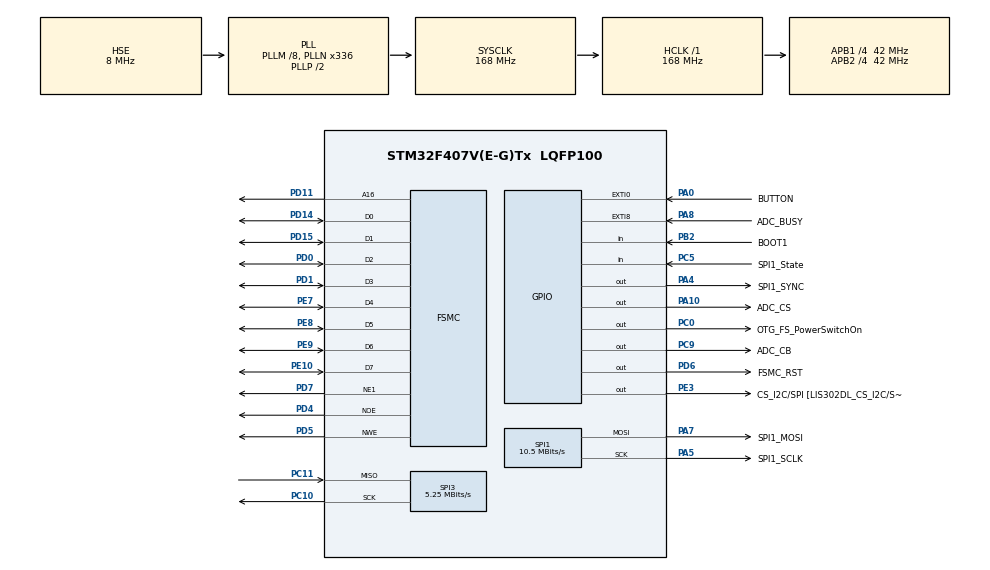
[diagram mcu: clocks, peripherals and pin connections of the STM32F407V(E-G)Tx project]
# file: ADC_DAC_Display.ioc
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Mcu.Family=STM32F4
Mcu.Name=STM32F407V(E-G)Tx
Mcu.Package=LQFP100
NVIC.EXTI0_IRQn=true\:0\:0\:false\:false\:true\:true\:true\:true
NVIC.EXTI9_5_IRQn=true\:0\:0\:false\:false\:true\:true\:true\:true
NVIC.PriorityGroup=NVIC_PRIORITYGROUP_0
PA0-WKUP.GPIO_Label=BUTTON
PA0-WKUP.GPIO_ModeDefaultEXTI=GPIO_MODE_IT_FALLING
PA0-WKUP.GPIO_PuPd=GPIO_NOPULL
PA0-WKUP.Signal=GPXTI0
PA10.GPIO_Label=ADC_CS
PA10.GPIO_Speed=GPIO_SPEED_FREQ_MEDIUM
PA10.Signal=GPIO_Output
PA13.GPIO_Label=SWDIO
PA13.Mode=Serial_Wire
PA13.Signal=SYS_JTMS-SWDIO
PA14.GPIO_Label=SWCLK
PA14.Mode=Serial_Wire
PA14.Signal=SYS_JTCK-SWCLK
PA4.GPIO_Label=SPI1_SYNC
PA4.GPIO_Speed=GPIO_SPEED_FREQ_MEDIUM
PA4.Signal=GPIO_Output
PA5.GPIO_Label=SPI1_SCLK
PA5.GPIO_Mode=GPIO_MODE_AF_PP
PA5.GPIO_PuPd=GPIO_NOPULL
PA5.GPIO_Speed=GPIO_SPEED_FREQ_LOW
PA5.Mode=TX_Only_Simplex_Unidirect_Master
PA5.Signal=SPI1_SCK
PA7.GPIO_Label=SPI1_MOSI
PA7.GPIO_Mode=GPIO_MODE_AF_PP
PA7.GPIO_PuPd=GPIO_NOPULL
PA7.GPIO_Speed=GPIO_SPEED_FREQ_LOW
PA7.Mode=TX_Only_Simplex_Unidirect_Master
PA7.Signal=SPI1_MOSI
PA8.GPIO_Label=ADC_BUSY
PA8.GPIO_ModeDefaultEXTI=GPIO_MODE_IT_FALLING
PA8.GPIO_PuPd=GPIO_PULLUP
PA8.Signal=GPXTI8
PB10.GPIO_Label=CLK_IN [MP45DT02_CLK]
PB10.GPIO_Mode=GPIO_MODE_AF_PP
PB10.GPIO_PuPd=GPIO_NOPULL
PB10.GPIO_Speed=GPIO_SPEED_FREQ_LOW
PB10.Signal=I2S2_CK
PB2.GPIO_Label=BOOT1
PB2.GPIO_Mode=GPIO_MODE_INPUT
PB2.GPIO_PuPd=GPIO_NOPULL
PB2.Signal=GPIO_Input
PB3.GPIO_Label=SWO
PB3.Signal=SYS_JTDO-SWO
PC0.GPIO_Label=OTG_FS_PowerSwitchOn
PC0.GPIO_PuPd=GPIO_NOPULL
PC0.GPIO_Speed=GPIO_SPEED_FREQ_LOW
PC0.PinState=GPIO_PIN_SET
PC0.Signal=GPIO_Output
PC10.Mode=RX_Only_Simplex_Unidirect_Master
PC10.Signal=SPI3_SCK
PC11.Mode=RX_Only_Simplex_Unidirect_Master
PC11.Signal=SPI3_MISO
PC14-OSC32_IN.GPIO_Label=PC14-OSC32_IN
PC14-OSC32_IN.Mode=LSE-External-Oscillator
PC14-OSC32_IN.Signal=RCC_OSC32_IN
PC15-OSC32_OUT.GPIO_Label=PC15-OSC32_OUT
PC15-OSC32_OUT.Mode=LSE-External-Oscillator
PC15-OSC32_OUT.Signal=RCC_OSC32_OUT
PC3.GPIO_Label=PDM_OUT [MP45DT02_DOUT]
PC3.GPIO_Mode=GPIO_MODE_AF_PP
PC3.GPIO_PuPd=GPIO_NOPULL
PC3.GPIO_Speed=GPIO_SPEED_FREQ_LOW
PC3.Signal=I2S2_SD
PC5.GPIO_Label=SPI1_State
PC5.Signal=GPIO_Input
PC9.GPIO_Label=ADC_CB
PC9.Signal=GPIO_Output
PD0.Mode=8b-d1
PD0.Signal=FSMC_D2
PD1.Mode=8b-d1
PD1.Signal=FSMC_D3
PD11.Mode=A16_1
PD11.Signal=FSMC_A16
PD14.Mode=8b-d1
PD14.Signal=FSMC_D0
PD15.Mode=8b-d1
PD15.Signal=FSMC_D1
PD4.Mode=Lcd1
PD4.Signal=FSMC_NOE
PD5.Mode=Lcd1
PD5.Signal=FSMC_NWE
PD6.GPIO_Label=FSMC_RST
PD6.Signal=GPIO_Output
PD7.Mode=NorPsramChipSelect1_1
PD7.Signal=FSMC_NE1
PE10.Mode=8b-d1
PE10.Signal=FSMC_D7
PE3.GPIO_Label=CS_I2C/SPI [LIS302DL_CS_I2C/SPI]
PE3.GPIO_PuPd=GPIO_NOPULL
PE3.GPIO_Speed=GPIO_SPEED_FREQ_LOW
PE3.Signal=GPIO_Output
PE7.Mode=8b-d1
PE7.Signal=FSMC_D4
PE8.Mode=8b-d1
PE8.Signal=FSMC_D5
PE9.Mode=8b-d1
PE9.Signal=FSMC_D6
PH0-OSC_IN.GPIO_Label=PH0-OSC_IN
PH0-OSC_IN.Mode=HSE-External-Oscillator
PH0-OSC_IN.Signal=RCC_OSC_IN
PH1-OSC_OUT.GPIO_Label=PH1-OSC_OUT
PH1-OSC_OUT.Mode=HSE-External-Oscillator
PH1-OSC_OUT.Signal=RCC_OSC_OUT
ProjectManager.HeapSize=0x200
ProjectManager.StackSize=0x400
ProjectManager.TargetToolchain=STM32CubeIDE
RCC.48MHZClocksFreq_Value=48000000
RCC.AHBFreq_Value=168000000
RCC.APB1CLKDivider=RCC_HCLK_DIV4
RCC.APB1Freq_Value=42000000
RCC.APB1TimFreq_Value=84000000
RCC.APB2CLKDivider=RCC_HCLK_DIV4
RCC.APB2Freq_Value=42000000
RCC.APB2TimFreq_Value=84000000
RCC.CortexFreq_Value=168000000
RCC.HCLKFreq_Value=168000000
RCC.HSE_VALUE=8000000
RCC.HSI_VALUE=16000000
RCC.PLLM=8
RCC.PLLN=336
RCC.PLLQ=7
RCC.PLLSourceVirtual=RCC_PLLSOURCE_HSE
RCC.SYSCLKFreq_VALUE=168000000
RCC.SYSCLKSource=RCC_SYSCLKSOURCE_PLLCLK
RCC.VCOOutputFreq_Value=336000000
SPI1.BaudRatePrescaler=SPI_BAUDRATEPRESCALER_4
SPI1.CLKPhase=SPI_PHASE_2EDGE
SPI1.CalculateBaudRate=10.5 MBits/s
SPI1.DataSize=SPI_DATASIZE_8BIT
SPI1.Direction=SPI_DIRECTION_2LINES
SPI1.Mode=SPI_MODE_MASTER
SPI1.VirtualType=VM_MASTER
SPI3.BaudRatePrescaler=SPI_BAUDRATEPRESCALER_8
SPI3.CalculateBaudRate=5.25 MBits/s
SPI3.DataSize=SPI_DATASIZE_16BIT
SPI3.Direction=SPI_DIRECTION_2LINES_RXONLY
SPI3.Mode=SPI_MODE_MASTER
SPI3.VirtualType=VM_MASTER
STMicroelectronics.X-CUBE-TOUCHGFX.4.26.1.ApplicationCcGraphicsJjApplication=TouchGFXOoGenerator
STMicroelectronics.X-CUBE-TOUCHGFX.4.26.1.tgfx_block_size=4096
STMicroelectronics.X-CUBE-TOUCHGFX.4.26.1.tgfx_buffering_strategy=Partial
STMicroelectronics.X-CUBE-TOUCHGFX.4.26.1.tgfx_custom_height=480
STMicroelectronics.X-CUBE-TOUCHGFX.4.26.1.tgfx_custom_width=320
STMicroelectronics.X-CUBE-TOUCHGFX.4.26.1.tgfx_number_of_blocks=4
STMicroelectronics.X-CUBE-TOUCHGFX.4.26.1_IsPackSelfContextualization=true
TIM1.Prescaler=83
VP_CRC_VS_CRC.Mode=CRC_Activate
VP_STMicroelectronics.X-CUBE-TOUCHGFX_VS_GraphicsJjApplication_4.26.1.Mode=GraphicsJjApplication
VP_TIM1_VS_ClockSourceINT.Mode=Internal
board=STM32F407G-DISC1

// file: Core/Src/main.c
/* USER CODE BEGIN Header */
/**
  ******************************************************************************
  * @file           : main.c
  * @brief          : Main program body
  ******************************************************************************
  * @attention
  *
  * Copyright (c) 2026 STMicroelectronics.
  * All rights reserved.
  *
  * This software is licensed under terms that can be found in the LICENSE file
  * in the root directory of this software component.
  * If no LICENSE file comes with this software, it is provided AS-IS.
  *
  ******************************************************************************
  */
/* USER CODE END Header */
#include "main.h"
#include "crc.h"
#include "spi.h"
#include "tim.h"
#include "gpio.h"
#include "fsmc.h"
#include "app_touchgfx.h"

/* USER CODE BEGIN Includes */
#include <stdbool.h>
#include <math.h>
#include "ili9486.h"

/* USER CODE END Includes */

/* USER CODE BEGIN PTD */
volatile SystemMode systemMode = MODE_SETUP;
/* USER CODE END PTD */

/* USER CODE BEGIN PV */

// General variables
uint32_t i = 0; // Counter

// DAC
uint16_t V_DAC[N_DAC_voltage]; // Values of the generator

volatile float V_AC;
int Frequency;
int V_DC;
int I_DC;
int Phase_shift[5]; // 5 channels for the generator
int V_DAC_phase[5];

void DAC8568_Write(uint16_t value, uint8_t channel)
{
    uint32_t frame;

    frame = ((uint32_t)0x3 << 24) |
			((uint32_t)(channel - 1) << 20) |
			((uint32_t)value << 4);

    uint8_t txData[4];

	txData[0] = (frame >> 24) & 0xFF;
	txData[1] = (frame >> 16) & 0xFF;
	txData[2] = (frame >> 8)  & 0xFF;
	txData[3] = frame & 0xFF;

    HAL_GPIO_WritePin(GPIOA, GPIO_PIN_4, GPIO_PIN_RESET);
    HAL_SPI_Transmit(&hspi1, txData, 4, HAL_MAX_DELAY);
    HAL_GPIO_WritePin(GPIOA, GPIO_PIN_4, GPIO_PIN_SET);
}

void DAC8568_Init_SineTable(void)
{
    for (int i = 0; i < N_DAC_voltage; i++)
    {
        float x = sinf(2.0f * 3.14159265f * i / N_DAC_voltage);
        V_DAC[i] = (uint16_t)(32767.5f + 32767.5f * x / 10.0f); // 32767.5f - 0 V, 10.0f - maximum output voltage
    }
}

// ADC

int16_t ADC_data;
volatile float V_ADC[N_ADC_channels];

volatile float V_ADC_max = 3.0f;

// Conversion of ADC voltage to frequency
int FreqMax = 1000;
int FreqMin = 100;

volatile float a_freq;
volatile float b_freq;

// Display
uint8_t ShowImage = 0;

// TIM1
void usDelay(uint16_t useconds)
{
    __HAL_TIM_SET_COUNTER(&htim1, 0);

    while (__HAL_TIM_GET_COUNTER(&htim1) < useconds)
    {
    }
}

/* USER CODE END PV */

void SystemClock_Config(void);
/* USER CODE BEGIN PFP */
void mainApp(void);
/* USER CODE END PFP */

/* USER CODE BEGIN 0 */
extern void touchgfxSignalVSync(void);
/* USER CODE END 0 */

int main(void)
{

  /* MCU Configuration--------------------------------------------------------*/

  /* Reset of all peripherals, Initializes the Flash interface and the Systick. */
  HAL_Init();

  /* Configure the system clock */
  SystemClock_Config();

  /* Initialize all configured peripherals */
  MX_GPIO_Init();
  MX_SPI1_Init();
  MX_SPI3_Init();
  MX_TIM1_Init();
  MX_FSMC_Init();
  MX_CRC_Init();
  MX_TouchGFX_Init();
  /* USER CODE BEGIN 2 */

  // Starting the timer
  HAL_TIM_Base_Start(&htim1);

  // Initial states for SPI1 (DAC)

  // Grounding all the output channels
  HAL_GPIO_WritePin(GPIOA, GPIO_PIN_4, GPIO_PIN_RESET);
  DAC8568_Write(32767.5f, 16); // Channel #16 leads to write to all outputs
  HAL_GPIO_WritePin(GPIOA, GPIO_PIN_4, GPIO_PIN_SET);

  // Initialization of the voltage table
  DAC8568_Init_SineTable();

  // Initial states for SPI3 (ADC)
  HAL_GPIO_WritePin(GPIOC, GPIO_PIN_9, GPIO_PIN_SET); // CB High
  HAL_GPIO_WritePin(GPIOA, GPIO_PIN_10, GPIO_PIN_SET); // CS Low

  a_freq = (FreqMax - FreqMin) / V_ADC_max;
  b_freq = FreqMin;

  // Initial states for the display

  ili9486_Init();

  /* USER CODE END 2 */

  /* Infinite loop */
  /* USER CODE BEGIN WHILE */
  while (1)
  {
	  if (systemMode == MODE_SETUP) // Reading the ADC signals and updating the display
		{
			// ADC
			HAL_GPIO_WritePin(GPIOC, GPIO_PIN_9, GPIO_PIN_RESET); // CB Low
			HAL_GPIO_WritePin(GPIOC, GPIO_PIN_9, GPIO_PIN_SET); // CB High
			usDelay(10);

			V_AC = 10.0f/V_ADC_max*V_ADC[1];
			Frequency = (int)(V_ADC[2]*a_freq + b_freq);

			V_DC = (int)(500.0f*V_ADC[3]);
			I_DC = (int)(1000.0f*V_ADC[4]);

			Phase_shift[0] = (int)(180.0f/(V_ADC_max/2)*(V_ADC[5] - V_ADC_max/2));
			Phase_shift[1] = (int)(180.0f/(V_ADC_max/2)*(V_ADC[6] - V_ADC_max/2));
			Phase_shift[3] = (int)(180.0f/(V_ADC_max/2)*(V_ADC[7] - V_ADC_max/2));
			Phase_shift[4] = (int)(180.0f/(V_ADC_max/2)*(V_ADC[0] - V_ADC_max/2));

			// Display
			touchgfxSignalVSync();
			MX_TouchGFX_Process();
		}
		else // Generating the voltage
		{

			if (ShowImage == 1)
			{
				touchgfxSignalVSync();
				MX_TouchGFX_Process();
			}

			// DAC
			V_DAC_phase[0] = (i + (Phase_shift[0] * N_DAC_voltage) / 360) % N_DAC_voltage;
			V_DAC_phase[1] = (i + (Phase_shift[1] * N_DAC_voltage) / 360) % N_DAC_voltage;
			V_DAC_phase[2] = (i + (Phase_shift[2] * N_DAC_voltage) / 360) % N_DAC_voltage;
			V_DAC_phase[3] = (i + (Phase_shift[3] * N_DAC_voltage) / 360) % N_DAC_voltage;
			V_DAC_phase[4] = (i + (Phase_shift[4] * N_DAC_voltage) / 360) % N_DAC_voltage;

			DAC8568_Write(V_AC*V_DAC[V_DAC_phase[0]], 2); // Channel B
			DAC8568_Write(V_AC*V_DAC[V_DAC_phase[1]], 4); // Channel D
			DAC8568_Write(V_AC*V_DAC[V_DAC_phase[2]], 6); // Channel F
			DAC8568_Write(V_AC*V_DAC[V_DAC_phase[3]], 8); // Channel H
			DAC8568_Write(V_AC*V_DAC[V_DAC_phase[4]], 7); // Channel G

			i++;
			if (i >= N_DAC_voltage)
			  i = 0;

		}
    /* USER CODE END WHILE */

  //MX_TouchGFX_Process();
  }
}

void SystemClock_Config(void)
{
  RCC_OscInitTypeDef RCC_OscInitStruct = {0};
  RCC_ClkInitTypeDef RCC_ClkInitStruct = {0};

  /** Configure the main internal regulator output voltage
  */
  __HAL_RCC_PWR_CLK_ENABLE();
  __HAL_PWR_VOLTAGESCALING_CONFIG(PWR_REGULATOR_VOLTAGE_SCALE1);

  /** Initializes the RCC Oscillators according to the specified parameters
  * in the RCC_OscInitTypeDef structure.
  */
  RCC_OscInitStruct.OscillatorType = RCC_OSCILLATORTYPE_HSE;
  RCC_OscInitStruct.HSEState = RCC_HSE_ON;
  RCC_OscInitStruct.PLL.PLLState = RCC_PLL_ON;
  RCC_OscInitStruct.PLL.PLLSource = RCC_PLLSOURCE_HSE;
  RCC_OscInitStruct.PLL.PLLM = 8;
  RCC_OscInitStruct.PLL.PLLN = 336;
  RCC_OscInitStruct.PLL.PLLP = RCC_PLLP_DIV2;
  RCC_OscInitStruct.PLL.PLLQ = 7;
  if (HAL_RCC_OscConfig(&RCC_OscInitStruct) != HAL_OK)
  {
    Error_Handler();
  }

  /** Initializes the CPU, AHB and APB buses clocks
  */
  RCC_ClkInitStruct.ClockType = RCC_CLOCKTYPE_HCLK|RCC_CLOCKTYPE_SYSCLK
                              |RCC_CLOCKTYPE_PCLK1|RCC_CLOCKTYPE_PCLK2;
  RCC_ClkInitStruct.SYSCLKSource = RCC_SYSCLKSOURCE_PLLCLK;
  RCC_ClkInitStruct.AHBCLKDivider = RCC_SYSCLK_DIV1;
  RCC_ClkInitStruct.APB1CLKDivider = RCC_HCLK_DIV4;
  RCC_ClkInitStruct.APB2CLKDivider = RCC_HCLK_DIV4;

  if (HAL_RCC_ClockConfig(&RCC_ClkInitStruct, FLASH_LATENCY_5) != HAL_OK)
  {
    Error_Handler();
  }
}

/* USER CODE BEGIN 4 */

void HAL_GPIO_EXTI_Callback(uint16_t GPIO_Pin)
{

	// ADC interruption for BUST falling edge
    if (GPIO_Pin == ADC_BUSY_Pin)
    {
        // CS LOW
        HAL_GPIO_WritePin(GPIOA, GPIO_PIN_10, GPIO_PIN_RESET);

        // Read 8 × 16 bits from DOUTA
        for (int i = 0; i < N_ADC_channels; i++)
        {
            HAL_SPI_Receive(&hspi3,
                            (uint8_t *)&ADC_data,
                            1,
                            HAL_MAX_DELAY);

            V_ADC[i] = (float)ADC_data * 5.0f / 32768.0f;
        }

        // CS HIGH
        usDelay(5);
        HAL_GPIO_WritePin(GPIOA, GPIO_PIN_10, GPIO_PIN_SET);
    }

    // Blue button
    if (GPIO_Pin == BUTTON_Pin)
    {
        if (systemMode == MODE_SETUP)
        {
            systemMode = MODE_RUN;
        }
        else
        {
            systemMode = MODE_SETUP;
        }
        ShowImage = 1;
    }
}

// Display TouchGFX function

/* USER CODE END 4 */

void Error_Handler(void)
{
  __disable_irq();
  while (1)
  {
  }
}
